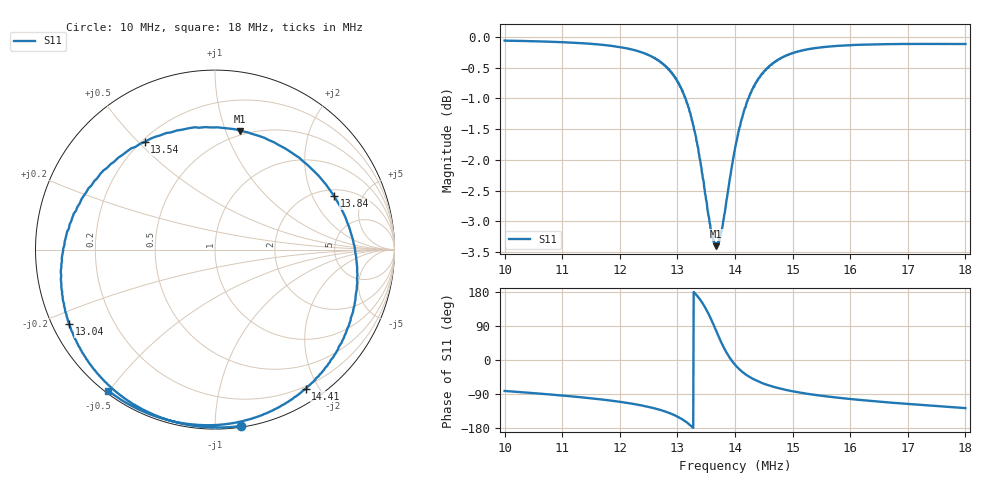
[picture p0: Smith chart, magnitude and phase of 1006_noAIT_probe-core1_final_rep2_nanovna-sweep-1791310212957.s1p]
! NanoVNA Web complex sweep
! Processing: unaveraged complex samples; linear segment spacing; no smoothing
# Hz S RI R 50
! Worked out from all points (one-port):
!   1010 points, 10 MHz to 18 MHz, reference 50 ohm
!   lowest |S11| = -3.4 dB at 13.67 MHz (marker M1), VSWR 5.17, Z = 23 + j56.1 ohm
!   |S11| at or under -10 dB: nowhere
!   S11 on the Smith chart (normalised r, x): 10 MHz: 0.01, -1.16; 13.04 MHz: 0.05, -0.24; 13.54 MHz: 0.21, +0.52; 13.84 MHz: 2.34, +2.95; 14.41 MHz: 0.17, -1.83; 18 MHz: 0.01, -0.50
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1e7  0.1438 -0.9826
1.100698e7  -0.0662 -0.9879
1.200604e7  -0.3427 -0.9193
1.234698e7  -0.4707 -0.8511
1.261657e7  -0.5927 -0.7559
1.282272e7  -0.6989 -0.6348
1.300509e7  -0.7929 -0.4638
1.304474e7  -0.8113 -0.415
1.321917e7  -0.8591 -0.1286
1.333811e7  -0.81 0.1405
1.344119e7  -0.6572 0.3962
1.353633e7  -0.3924 0.5996
1.36077e7  -0.1123 0.6816
1.367113e7  0.1388 0.6614
1.375835e7  0.4719 0.5098
1.383764e7  0.664 0.2976
1.391693e7  0.7672 0.0589
1.400414e7  0.7927 -0.1828
1.409136e7  0.7561 -0.3824
1.418651e7  0.6887 -0.5437
1.428959e7  0.6062 -0.6712
1.440852e7  0.5043 -0.7749
1.466225e7  0.317 -0.8981
1.50032e7  0.1242 -0.9622
1.544722e7  -0.0564 -0.9784
1.600225e7  -0.2199 -0.9593
1.700131e7  -0.4338 -0.8864
1.800036e7  -0.5936 -0.7883
